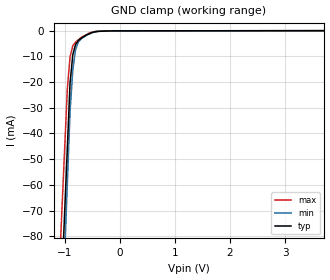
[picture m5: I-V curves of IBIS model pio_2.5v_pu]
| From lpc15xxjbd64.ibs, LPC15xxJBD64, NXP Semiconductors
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[Model] pio_2.5v_pu
Model_type Input
Vinl = 750.000mV
Vinh = 1.75000V
C_comp 598.000fF 598.000fF 598.000fF
| variable typ   min   max
[Voltage Range] 2.50000V 2.25000V 2.75000V
[POWER Clamp Reference] 2.50000V 2.25000V 2.75000V
[GND Clamp Reference] 0.00000V 0.00000V 0.00000V
[Temperature Range]   25   85   -40
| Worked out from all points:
|   GND clamp passes 1 mA (typ) near -0.53 V on its own axis
[GND Clamp]
-2.5V     -843.4mA   -940.4mA   -768.4mA
-950mV    -45.95mA   -59.81mA   -22.75mA
-900mV    -20.22mA   -31.4mA    -10.11mA
-850mV    -9.279mA   -15.24mA   -5.874mA
-800mV    -5.352mA   -7.376mA   -4.407mA
-750mV    -3.857mA   -4.408mA   -3.532mA
-700mV    -2.939mA   -3.178mA   -2.657mA
-550mV    -1.166mA   -1.284mA   -892.5uA
-400mV    -269.3uA   -271.4uA   -246.2uA
-200mV    -94.1uA    -81.77uA   -80.66uA
5V        31.77uA    45.17uA    23.92uA
[POWER Clamp]
-2.5V     0A         0A         0A
5V        0A         0A         0A
